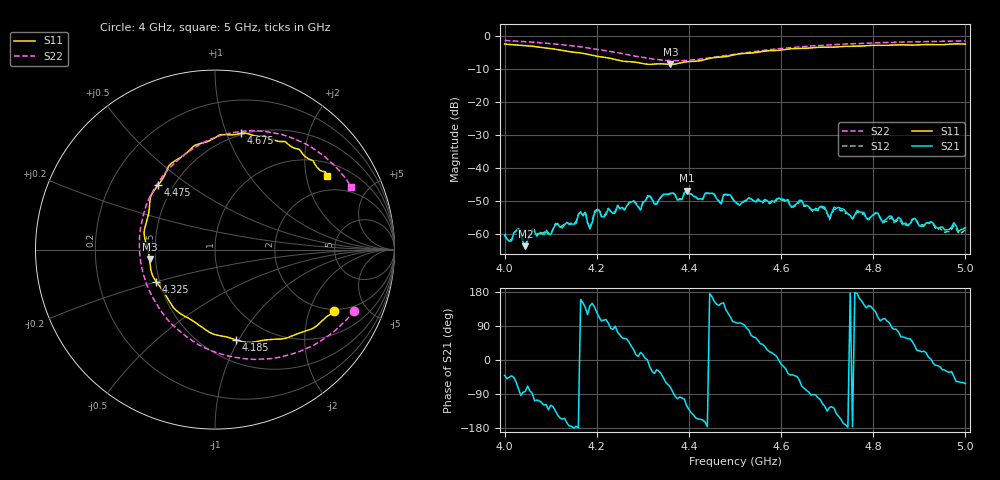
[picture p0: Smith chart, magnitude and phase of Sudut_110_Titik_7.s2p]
# Hz S RI R 50
! CMT, C1220, 16058040, 17.2.0/1
! Date: 15/08/2018 12:01:56
! Data: Format (Calibration Info)
! Freq  S11: Re/Im (F2)  S21: Re/Im (F2)  S12: Re/Im (F2)  S22: Re/Im (F2)
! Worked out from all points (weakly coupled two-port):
!   201 points, 4 GHz to 5 GHz, reference 50 ohm
!   highest |S21| = -46.80 dB at 4.395 GHz (marker M1); lowest = -63.6 dB at 4.045 GHz (marker M2)
!   lowest |S11| = -8.7 dB at 4.36 GHz (marker M3), VSWR 2.17, Z = 23.2 - j2.87 ohm
!   |S11| at or under -10 dB: nowhere
!   |S22| runs from -7.5 to -1.4 dB; largest |S21 - S12| = 0.0002
!   S11 on the Smith chart (normalised r, x): 4 GHz: 1.90, -2.98; 4.185 GHz: 0.71, -0.97; 4.325 GHz: 0.48, -0.20; 4.475 GHz: 0.41, +0.38; 4.675 GHz: 0.49, +1.12; 5 GHz: 1.43, +2.66
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4e9  0.6646 -0.3448  0.000733 -0.000628  0.000787 -0.000637  0.7762 -0.3407
4.015e9  0.6372 -0.3634  0.000592 -0.00053  0.000626 -0.000546  0.7486 -0.374
4.03e9  0.6038 -0.3902  0.000293 -0.00118  0.000351 -0.00117  0.7184 -0.4047
4.045e9  0.5692 -0.4222  8.87e-05 -0.000655  6.3e-05 -0.000698  0.6857 -0.4367
4.06e9  0.534 -0.4436  4.12e-05 -0.00113  0.00012 -0.00118  0.6499 -0.4663
4.1e9  0.4117 -0.4883  -0.000486 -0.000861  -0.000573 -0.000832  0.5384 -0.538
4.17e9  0.1659 -0.5155  -0.00165 0.000921  -0.00172 0.000879  0.2808 -0.6093
4.185e9  0.1172 -0.5027  -0.00096 0.000733  -0.000979 0.000742  0.2171 -0.6116
4.2e9  0.0608 -0.4858  -0.00133 0.00183  -0.0014 0.00188  0.1517 -0.6062
4.315e9  -0.3014 -0.214  0.00363 -0.00119  0.00373 -0.00121  -0.3115 -0.3266
4.325e9  -0.3276 -0.1784  0.00232 -0.00167  0.00239 -0.0017  -0.3369 -0.2845
4.335e9  -0.347 -0.1457  0.00291 -0.00165  0.00287 -0.00171  -0.3614 -0.239
4.36e9  -0.3645 -0.0535  0.00123 -0.00392  0.0012 -0.00401  -0.4045 -0.1173
4.395e9  -0.3948 0.0863  -0.00232 -0.00394  -0.00243 -0.00389  -0.4212 0.0546
4.47e9  -0.3302 0.3414  -0.00247 0.00148  -0.00238 0.00148  -0.316 0.3739
4.475e9  -0.3179 0.3578  -0.00343 0.00192  -0.00337 0.00198  -0.3044 0.3906
4.5e9  -0.2674 0.4441  -0.000529 0.00305  -0.000495 0.00302  -0.2403 0.467
4.595e9  -0.0476 0.6  0.00353 -5.24e-05  0.00349 -5.69e-05  0.031 0.6357
4.67e9  0.134 0.6451  -2.86e-05 -0.00231  -0.000108 -0.00217  0.2389 0.6617
4.675e9  0.1442 0.6479  -0.000109 -0.00246  -0.000142 -0.00235  0.2516 0.6608
4.835e9  0.4394 0.5666  -0.000276 0.00186  -0.000255 0.00167  0.573 0.5464
5e9  0.6249 0.4096  0.000586 -0.00112  0.000582 -0.00101  0.759 0.3496
